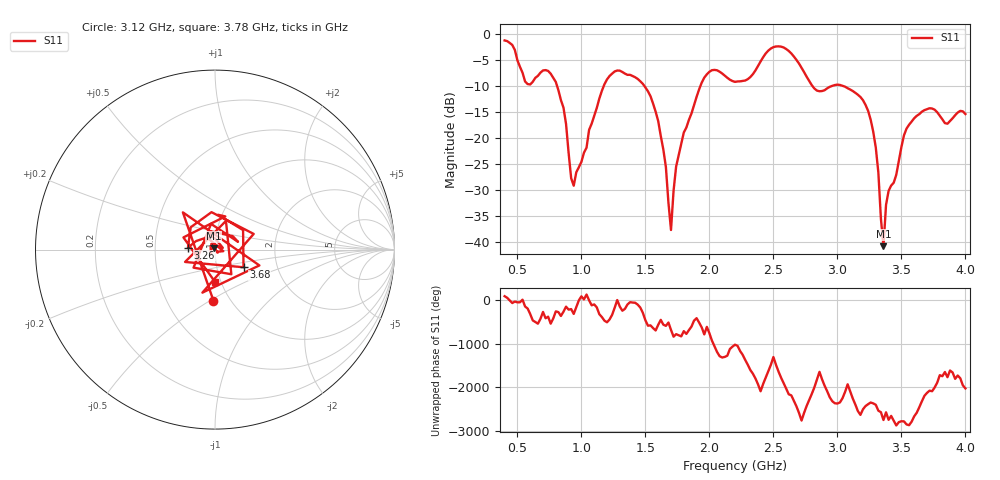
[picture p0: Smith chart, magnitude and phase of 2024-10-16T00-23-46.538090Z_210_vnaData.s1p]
! Created with skrf (http://scikit-rf.org).
# Hz S RI R 50.0
!freq ReS11 ImS11
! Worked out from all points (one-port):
!   181 points, 400 MHz to 4 GHz, reference 50 ohm
!   lowest |S11| = -40.7 dB at 3.36 GHz (marker M1), VSWR 1.02, Z = 49.3 + j0.623 ohm
!   |S11| at or under -10 dB: 810.8 MHz to 1.174 GHz (362.8 MHz wide, 36.6 % of centre); 1.494 GHz to 1.929 GHz (434.8 MHz wide, 25.4 % of centre); 3.052 GHz to end of sweep (the widest 3 of 4)
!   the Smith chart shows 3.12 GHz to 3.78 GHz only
!   S11 on the Smith chart (normalised r, x): 3.12 GHz: 0.84, -0.52; 3.26 GHz: 0.74, +0.02; 3.68 GHz: 1.35, -0.27; 3.78 GHz: 0.94, -0.34
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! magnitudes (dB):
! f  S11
! 400 MHz  -1.2
! 580 MHz  -9.6
! 760 MHz  -7.6
! 860 MHz  -14.1
! 940 MHz  -29.1
! 1.18 GHz  -9.6
! 1.3 GHz  -7.0
! 1.56 GHz  -13.3
! 1.66 GHz  -25.5
! 1.7 GHz  -37.6
! 1.72 GHz  -30.1
! 1.76 GHz  -23.2
! 1.96 GHz  -8.3
! 2.2 GHz  -9.1
! 2.5 GHz  -2.5
! 2.66 GHz  -4.3
! 2.84 GHz  -10.8
! 3.1 GHz  -10.6
! 3.12 GHz  -10.9
! 3.26 GHz  -16.4
! 3.32 GHz  -26.6
! 3.36 GHz  -40.7
! 3.38 GHz  -32.8
! 3.4 GHz  -30.1
! 3.56 GHz  -17.4
! 3.68 GHz  -14.6
! 3.78 GHz  -15.0
! 4 GHz  -15.3
